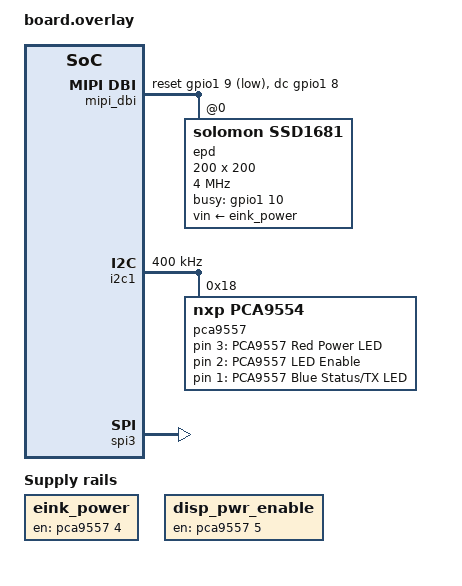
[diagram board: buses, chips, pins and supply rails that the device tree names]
/*
 * Elecrow ThinkNode M5 application-only peripherals.
 *
 * Keep the PCA9557/E-Ink nodes out of the base DTS so MCUboot does not pull
 * I2C/GPIO-expander/display drivers into its minimal build.
 */

/ {
	chosen {
		zephyr,display = &epd;
	};

	aliases {
		led0 = &exp_red_led;
		led1 = &exp_blue_led;
		led-enable = &exp_led_enable;
		ble-status-led = &exp_blue_led;
		lora-tx-led = &exp_blue_led;
	};

	eink_power: eink-power {
		compatible = "regulator-fixed";
		regulator-name = "eink-power";
		enable-gpios = <&pca9557 4 GPIO_ACTIVE_HIGH>;
		regulator-boot-on;
		regulator-always-on;
	};

	/* Display frontlight/backlight enable (PCA9557 pin 5).
	 * MeshCore drives EXP_PIN_BACKLIGHT HIGH while PIN_BUTTON2 is pressed and
	 * LOW when idle, so this rail is active-high. */
	disp_pwr_enable: disp-pwr-enable {
		compatible = "regulator-fixed";
		regulator-name = "disp-pwr-enable";
		enable-gpios = <&pca9557 5 GPIO_ACTIVE_HIGH>;
	};

	expander_leds {
		compatible = "gpio-leds";

		exp_red_led: exp_red_led {
			gpios = <&pca9557 3 GPIO_ACTIVE_HIGH>;
			label = "PCA9557 Red Power LED";
		};

		exp_led_enable: exp_led_enable {
			gpios = <&pca9557 2 GPIO_ACTIVE_HIGH>;
			label = "PCA9557 LED Enable";
		};

		exp_blue_led: exp_blue_led {
			gpios = <&pca9557 1 GPIO_ACTIVE_HIGH>;
			label = "PCA9557 Blue Status/TX LED";
		};
	};

	mipi_dbi {
		compatible = "zephyr,mipi-dbi-spi";
		spi-dev = <&spi3>;
		dc-gpios = <&gpio1 8 GPIO_ACTIVE_HIGH>;     /* GPIO40 */
		reset-gpios = <&gpio1 9 GPIO_ACTIVE_LOW>;    /* GPIO41 */
		#address-cells = <1>;
		#size-cells = <0>;

		epd: ssd16xxfb@0 {
			compatible = "solomon,ssd1681";
			mipi-max-frequency = <4000000>;
			reg = <0>;
			width = <200>;
			height = <200>;
			rotation = <270>;
			busy-gpios = <&gpio1 10 GPIO_ACTIVE_HIGH>;  /* GPIO42 */
			vin-supply = <&eink_power>;

			tssv = <0x80>;

			full    { border-waveform = <0x05>; };
			partial { border-waveform = <0x80>; };
		};
	};
};

&i2c1 {
	status = "okay";
	clock-frequency = <I2C_BITRATE_FAST>;
	pinctrl-0 = <&i2c1_default>;
	pinctrl-names = "default";

	pca9557: gpio-expander@18 {
		compatible = "nxp,pca9554";
		reg = <0x18>;
		gpio-controller;
		#gpio-cells = <2>;
		ngpios = <8>;
	};
};

&spi3 {
	status = "okay";
	#address-cells = <1>;
	#size-cells = <0>;
	pinctrl-0 = <&spim3_default>;
	pinctrl-names = "default";
	cs-gpios = <&gpio1 7 GPIO_ACTIVE_LOW>;  /* GPIO39 */
};
